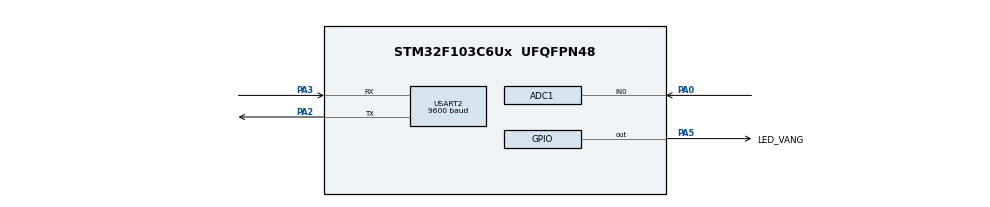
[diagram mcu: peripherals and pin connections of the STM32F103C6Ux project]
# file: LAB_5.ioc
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ADC1.Channel-0\#ChannelRegularConversion=ADC_CHANNEL_0
ADC1.ContinuousConvMode=ENABLE
ADC1.NbrOfConversionFlag=1
ADC1.Rank-0\#ChannelRegularConversion=1
ADC1.SamplingTime-0\#ChannelRegularConversion=ADC_SAMPLETIME_1CYCLE_5
ADC1.master=1
Mcu.Family=STM32F1
Mcu.Name=STM32F103C6Ux
Mcu.Package=UFQFPN48
NVIC.PriorityGroup=NVIC_PRIORITYGROUP_4
NVIC.TIM2_IRQn=true\:0\:0\:false\:false\:true\:true\:true
NVIC.USART2_IRQn=true\:0\:0\:false\:false\:true\:true\:true
PA0-WKUP.Signal=ADCx_IN0
PA2.Mode=Asynchronous
PA2.Signal=USART2_TX
PA3.Mode=Asynchronous
PA3.Signal=USART2_RX
PA5.GPIO_Label=LED_VANG
PA5.Signal=GPIO_Output
ProjectManager.HeapSize=0x200
ProjectManager.StackSize=0x400
ProjectManager.TargetToolchain=STM32CubeIDE
RCC.APB1Freq_Value=8000000
RCC.APB2Freq_Value=8000000
SH.ADCx_IN0.0=ADC1_IN0,IN0
TIM2.Period=9
TIM2.Prescaler=7999
USART2.BaudRate=9600
USART2.VirtualMode=VM_ASYNC
VP_SYS_VS_ND.Mode=No_Debug
VP_TIM2_VS_ClockSourceINT.Mode=Internal
board=custom

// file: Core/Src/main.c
/* USER CODE BEGIN Header */
/**
  ******************************************************************************
  * @file           : main.c
  * @brief          : Main program body
  ******************************************************************************
  * @attention
  *
  * <h2><center>&copy; Copyright (c) 2025 STMicroelectronics.
  * All rights reserved.</center></h2>
  *
  * This software component is licensed by ST under BSD 3-Clause license,
  * the "License"; You may not use this file except in compliance with the
  * License. You may obtain a copy of the License at:
  *                        opensource.org/licenses/BSD-3-Clause
  *
  ******************************************************************************
  */
/* USER CODE END Header */
#include "main.h"

/* USER CODE BEGIN Includes */
#include "software_timer.h"
#include <string.h>
#include <stdio.h>
/* USER CODE END Includes */

/* USER CODE BEGIN PTD */
# define MAX_BUFFER_SIZE 30
/* USER CODE END PTD */

ADC_HandleTypeDef hadc1;

TIM_HandleTypeDef htim2;

UART_HandleTypeDef huart2;

void SystemClock_Config(void);
static void MX_GPIO_Init(void);
static void MX_ADC1_Init(void);
static void MX_USART2_UART_Init(void);
static void MX_TIM2_Init(void);

/* USER CODE BEGIN 0 */
char response[100];
uint8_t temp = 0;
uint8_t buffer[MAX_BUFFER_SIZE];
uint8_t index_buffer = 0;
uint8_t buffer_flag = 0;
uint32_t ADC_value = 0;

void command_parser_fsm();
void uart_communiation_fsm();
void resetBuffer();
void HAL_UART_RxCpltCallback(UART_HandleTypeDef *huart) {
	if(huart->Instance == USART2) {
		HAL_UART_Transmit(&huart2, &temp, 1, 50);
		if (temp == '!') {
			resetBuffer();
		}
		buffer[index_buffer++] = temp;
		buffer[index_buffer] = '\0';
		if(index_buffer == MAX_BUFFER_SIZE) {
			index_buffer = 0;
		}
		if (buffer[0] == '!' && temp == '#') {
			buffer_flag = 1;
		}
		HAL_UART_Receive_IT(&huart2, &temp, 1);
	}
}
/* USER CODE END 0 */

int main(void)
{

  /* MCU Configuration--------------------------------------------------------*/

  /* Reset of all peripherals, Initializes the Flash interface and the Systick. */
  HAL_Init();

  /* Configure the system clock */
  SystemClock_Config();

  /* Initialize all configured peripherals */
  MX_GPIO_Init();
  MX_ADC1_Init();
  MX_USART2_UART_Init();
  MX_TIM2_Init();
  /* USER CODE BEGIN 2 */
  HAL_TIM_Base_Start_IT(&htim2);
  /* USER CODE END 2 */
  HAL_ADC_Start(&hadc1);
  /* Infinite loop */
  /* USER CODE BEGIN WHILE */
  HAL_UART_Receive_IT(&huart2, &temp, 1);
  configureTimer1(500);
  while (1)
  {
	  if (timer1_flag == 1) {
	  		  HAL_GPIO_TogglePin(LED_VANG_GPIO_Port , LED_VANG_Pin);
	  		configureTimer1(500);
	  	  }
	  	  if(buffer_flag == 1) {
	  		  command_parser_fsm();
	  		  buffer_flag = 0;
	  	  }
	  	  uart_communiation_fsm();
    /* USER CODE END WHILE */

  }
}

void SystemClock_Config(void)
{
  RCC_OscInitTypeDef RCC_OscInitStruct = {0};
  RCC_ClkInitTypeDef RCC_ClkInitStruct = {0};
  RCC_PeriphCLKInitTypeDef PeriphClkInit = {0};

  /** Initializes the RCC Oscillators according to the specified parameters
  * in the RCC_OscInitTypeDef structure.
  */
  RCC_OscInitStruct.OscillatorType = RCC_OSCILLATORTYPE_HSI;
  RCC_OscInitStruct.HSIState = RCC_HSI_ON;
  RCC_OscInitStruct.HSICalibrationValue = RCC_HSICALIBRATION_DEFAULT;
  RCC_OscInitStruct.PLL.PLLState = RCC_PLL_NONE;
  if (HAL_RCC_OscConfig(&RCC_OscInitStruct) != HAL_OK)
  {
    Error_Handler();
  }
  /** Initializes the CPU, AHB and APB buses clocks
  */
  RCC_ClkInitStruct.ClockType = RCC_CLOCKTYPE_HCLK|RCC_CLOCKTYPE_SYSCLK
                              |RCC_CLOCKTYPE_PCLK1|RCC_CLOCKTYPE_PCLK2;
  RCC_ClkInitStruct.SYSCLKSource = RCC_SYSCLKSOURCE_HSI;
  RCC_ClkInitStruct.AHBCLKDivider = RCC_SYSCLK_DIV1;
  RCC_ClkInitStruct.APB1CLKDivider = RCC_HCLK_DIV1;
  RCC_ClkInitStruct.APB2CLKDivider = RCC_HCLK_DIV1;

  if (HAL_RCC_ClockConfig(&RCC_ClkInitStruct, FLASH_LATENCY_0) != HAL_OK)
  {
    Error_Handler();
  }
  PeriphClkInit.PeriphClockSelection = RCC_PERIPHCLK_ADC;
  PeriphClkInit.AdcClockSelection = RCC_ADCPCLK2_DIV2;
  if (HAL_RCCEx_PeriphCLKConfig(&PeriphClkInit) != HAL_OK)
  {
    Error_Handler();
  }
}

static void MX_ADC1_Init(void)
{

  ADC_ChannelConfTypeDef sConfig = {0};

  /** Common config
  */
  hadc1.Instance = ADC1;
  hadc1.Init.ScanConvMode = ADC_SCAN_DISABLE;
  hadc1.Init.ContinuousConvMode = ENABLE;
  hadc1.Init.DiscontinuousConvMode = DISABLE;
  hadc1.Init.ExternalTrigConv = ADC_SOFTWARE_START;
  hadc1.Init.DataAlign = ADC_DATAALIGN_RIGHT;
  hadc1.Init.NbrOfConversion = 1;
  if (HAL_ADC_Init(&hadc1) != HAL_OK)
  {
    Error_Handler();
  }
  /** Configure Regular Channel
  */
  sConfig.Channel = ADC_CHANNEL_0;
  sConfig.Rank = ADC_REGULAR_RANK_1;
  sConfig.SamplingTime = ADC_SAMPLETIME_1CYCLE_5;
  if (HAL_ADC_ConfigChannel(&hadc1, &sConfig) != HAL_OK)
  {
    Error_Handler();
  }

}

static void MX_TIM2_Init(void)
{

  TIM_ClockConfigTypeDef sClockSourceConfig = {0};
  TIM_MasterConfigTypeDef sMasterConfig = {0};

  htim2.Instance = TIM2;
  htim2.Init.Prescaler = 7999;
  htim2.Init.CounterMode = TIM_COUNTERMODE_UP;
  htim2.Init.Period = 9;
  htim2.Init.ClockDivision = TIM_CLOCKDIVISION_DIV1;
  htim2.Init.AutoReloadPreload = TIM_AUTORELOAD_PRELOAD_DISABLE;
  if (HAL_TIM_Base_Init(&htim2) != HAL_OK)
  {
    Error_Handler();
  }
  sClockSourceConfig.ClockSource = TIM_CLOCKSOURCE_INTERNAL;
  if (HAL_TIM_ConfigClockSource(&htim2, &sClockSourceConfig) != HAL_OK)
  {
    Error_Handler();
  }
  sMasterConfig.MasterOutputTrigger = TIM_TRGO_RESET;
  sMasterConfig.MasterSlaveMode = TIM_MASTERSLAVEMODE_DISABLE;
  if (HAL_TIMEx_MasterConfigSynchronization(&htim2, &sMasterConfig) != HAL_OK)
  {
    Error_Handler();
  }

}

static void MX_USART2_UART_Init(void)
{

  huart2.Instance = USART2;
  huart2.Init.BaudRate = 9600;
  huart2.Init.WordLength = UART_WORDLENGTH_8B;
  huart2.Init.StopBits = UART_STOPBITS_1;
  huart2.Init.Parity = UART_PARITY_NONE;
  huart2.Init.Mode = UART_MODE_TX_RX;
  huart2.Init.HwFlowCtl = UART_HWCONTROL_NONE;
  huart2.Init.OverSampling = UART_OVERSAMPLING_16;
  if (HAL_UART_Init(&huart2) != HAL_OK)
  {
    Error_Handler();
  }

}

static void MX_GPIO_Init(void)
{
  GPIO_InitTypeDef GPIO_InitStruct = {0};

  /* GPIO Ports Clock Enable */
  __HAL_RCC_GPIOA_CLK_ENABLE();

  /*Configure GPIO pin Output Level */
  HAL_GPIO_WritePin(LED_VANG_GPIO_Port, LED_VANG_Pin, GPIO_PIN_RESET);

  /*Configure GPIO pin : LED_VANG_Pin */
  GPIO_InitStruct.Pin = LED_VANG_Pin;
  GPIO_InitStruct.Mode = GPIO_MODE_OUTPUT_PP;
  GPIO_InitStruct.Pull = GPIO_NOPULL;
  GPIO_InitStruct.Speed = GPIO_SPEED_FREQ_LOW;
  HAL_GPIO_Init(LED_VANG_GPIO_Port, &GPIO_InitStruct);

}

/* USER CODE BEGIN 4 */
void HAL_TIM_PeriodElapsedCallback(TIM_HandleTypeDef *htim) {
	processTimers();
}

void resetBuffer() {
	memset(buffer, 0, index_buffer);
	index_buffer = 0;
}

void command_parser_fsm() {
	char *command = (char*)buffer;
	if (strcmp(command, "!RST#") == 0) {
		ADC_value = HAL_ADC_GetValue(&hadc1);
		HAL_UART_Transmit(&huart2, (void *)response, sprintf(response, "\r!ADC=%lu#", ADC_value), 1000);
		setTimer2(3000);
	} else if (strcmp(command, "!OK#") == 0) {
		clearTimer2();
	}
}
void uart_communiation_fsm() {
	if (timer2_flag == 1) {
		// Resend the same ADC value (keep previous packet value)
		HAL_UART_Transmit(&huart2, (void *)response, sprintf(response, "\r!ADC=%lu#", ADC_value), 1000);
		setTimer2(3000);
	}
}
/* USER CODE END 4 */

void Error_Handler(void)
{
  __disable_irq();
  while (1)
  {
  }
}

/************************ (C) COPYRIGHT STMicroelectronics *****END OF FILE****/
